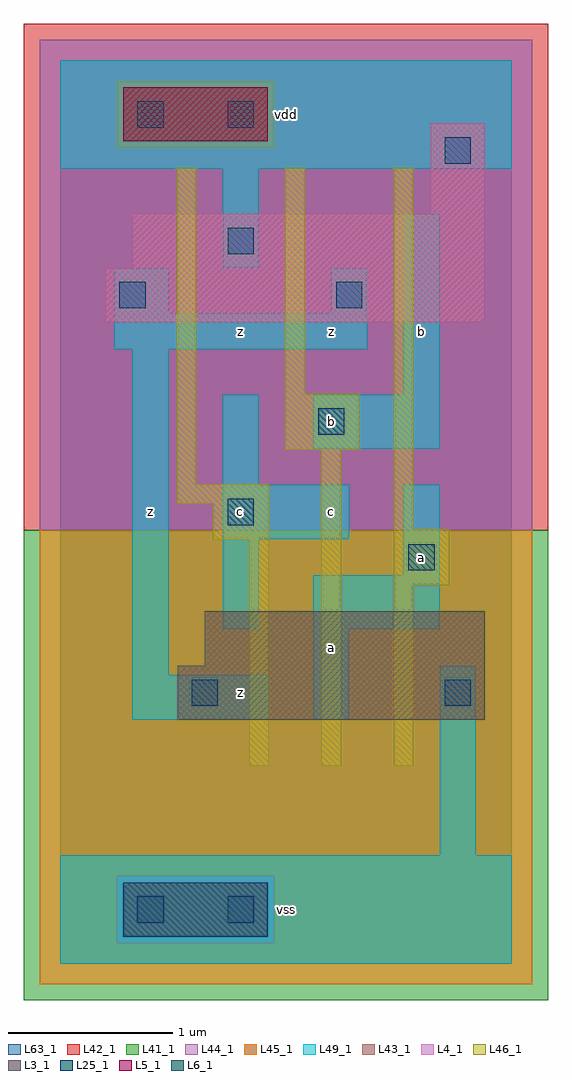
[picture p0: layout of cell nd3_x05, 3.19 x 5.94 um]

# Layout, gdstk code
import gdstk
lib = gdstk.Library(unit=1e-6, precision=1e-09)
def R(c, l, rs):  # rectangles x0, y0, x1, y1
    for r in rs: c.add(gdstk.rectangle(r[:2], r[2:], *l))
L3_1 = (3, 1)
L4_1 = (4, 1)
L5_1 = (5, 1)
L6_1 = (6, 1)
L25_1 = (25, 1)
L41_1 = (41, 1)
L42_1 = (42, 1)
L43_1 = (43, 1)
L44_1 = (44, 1)
L45_1 = (45, 1)
L46_1 = (46, 1)
L49_1 = (49, 1)
L63_1 = (63, 1)

nd3_x05 = lib.new_cell('nd3_x05')
R(nd3_x05, L3_1, [(0.715,1.485,2.585,1.815), (0.88,1.815,2.585,2.145)])
R(nd3_x05, L4_1, [(0.275,3.905,2.585,4.235), (0.44,4.235,2.585,4.565), (2.255,4.565,2.585,5.115)])
R(nd3_x05, L5_1, [(0.385,5.005,1.265,5.335)])
R(nd3_x05, L6_1, [(0.385,0.165,1.265,0.495)])
R(nd3_x05, L25_1, [(0.47,0.25,0.63,0.41), (1.02,0.25,1.18,0.41), (0.8,1.57,0.96,1.73), (2.34,1.57,2.5,1.73), (2.12,2.395,2.28,2.555), (1.02,2.67,1.18,2.83), (1.57,3.22,1.73,3.38), (0.36,3.99,0.52,4.15), (1.68,3.99,1.84,4.15), (1.02,4.32,1.18,4.48), (2.34,4.87,2.5,5.03), (0.47,5.09,0.63,5.25), (1.02,5.09,1.18,5.25)])
R(nd3_x05, L41_1, [(-0.22,-0.22,2.97,2.64)])
R(nd3_x05, L42_1, [(-0.22,2.64,2.97,5.72)])
R(nd3_x05, L43_1, [(0.385,0.165,1.265,0.495), (0.715,1.485,2.585,1.815), (0.88,1.815,2.585,2.145), (0.275,3.905,2.585,4.235), (0.44,4.235,2.585,4.565), (2.255,4.565,2.585,5.115), (0.385,5.005,1.265,5.335)])
R(nd3_x05, L44_1, [(0.345,0.125,1.305,0.535), (-0.125,2.64,2.875,4.965), (-0.125,4.965,0.345,5.375), (1.305,4.965,2.875,5.375), (-0.125,5.375,2.875,5.625)])
R(nd3_x05, L45_1, [(-0.125,-0.125,2.875,0.125), (-0.125,0.125,0.345,0.535), (1.305,0.125,2.875,0.535), (-0.125,0.535,2.875,2.64), (0.345,4.965,1.305,5.375)])
R(nd3_x05, L46_1, [(1.15,1.205,1.27,2.58), (1.59,1.205,1.71,3.13), (2.03,1.205,2.15,2.305), (2.03,2.305,2.37,2.645), (0.93,2.58,1.27,2.8), (2.03,2.645,2.15,4.845), (0.71,2.8,1.27,2.92), (0.71,2.92,0.83,4.845), (1.37,3.13,1.82,3.47), (1.37,3.47,1.49,4.845)])
R(nd3_x05, L49_1, [(0,0,2.75,0.66), (2.31,0.66,2.53,1.815), (0.44,1.485,1.265,1.76), (1.54,1.485,1.76,2.035), (0.44,1.76,0.66,3.74), (0.99,2.035,1.21,2.585), (1.54,2.035,2.31,2.365), (2.09,2.365,2.31,2.915), (0.99,2.585,1.76,2.915), (0.99,2.915,1.21,3.465), (1.54,3.135,2.31,3.465), (2.09,3.465,2.31,4.565), (0.33,3.74,1.87,3.96), (0.33,3.96,0.66,4.235), (1.65,3.96,1.87,4.235), (0.99,4.235,1.21,4.84), (0,4.84,2.75,5.5)])
R(nd3_x05, L63_1, [(0,0,2.75,5.5)])
nd3_x05.add(gdstk.Label('z', (1.1,1.65), layer=49, texttype=1))
nd3_x05.add(gdstk.Label('c', (1.1,2.75), layer=49, texttype=1))
nd3_x05.add(gdstk.Label('z', (0.55,2.75), layer=49, texttype=1))
nd3_x05.add(gdstk.Label('z', (1.1,3.85), layer=49, texttype=1))
nd3_x05.add(gdstk.Label('vss', (1.375,0.33), layer=49, texttype=1))
nd3_x05.add(gdstk.Label('a', (1.65,1.925), layer=49, texttype=1))
nd3_x05.add(gdstk.Label('c', (1.65,2.75), layer=49, texttype=1))
nd3_x05.add(gdstk.Label('b', (1.65,3.3), layer=49, texttype=1))
nd3_x05.add(gdstk.Label('z', (1.65,3.85), layer=49, texttype=1))
nd3_x05.add(gdstk.Label('vdd', (1.375,5.17), layer=49, texttype=1))
nd3_x05.add(gdstk.Label('a', (2.2,2.475), layer=49, texttype=1))
nd3_x05.add(gdstk.Label('b', (2.2,3.85), layer=49, texttype=1))

lib.write_gds('nd3_x05.gds')
